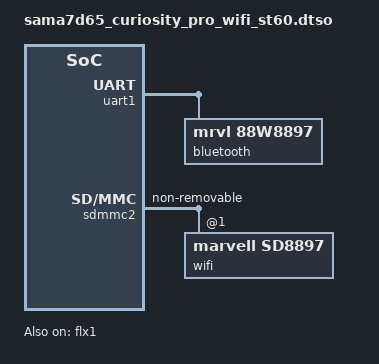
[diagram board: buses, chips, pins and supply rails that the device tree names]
// SPDX-License-Identifier: (GPL-2.0+ OR MIT)
/*
 *  Device Tree overlay for SAMA7D65-CURIOSITY-PRO board
 *  in order to use ST60 M.2 WIFI chip with USART for HCI
 *
 *  Copyright (c) 2026 Microchip Technology Inc. and its subsidiaries
 *
 *  Author: Ryan Wanner <ryan.wanner@microchip.com>
 *
 */
/dts-v1/;
/plugin/;
#include "sama7d65-pinfunc.h"
#include <dt-bindings/mfd/atmel-flexcom.h>
#include <dt-bindings/gpio/gpio.h>
#include <dt-bindings/pinctrl/at91.h>

&flx1 {
	atmel,flexcom-mode = <ATMEL_FLEXCOM_MODE_USART>;
	status = "okay";
};

&uart1 {
	pinctrl-names = "default";
	pinctrl-0 = <&pinctrl_uart1_default>;
	status = "okay";

	bluetooth {
		compatible = "mrvl,88w8897";
	};
};

&sdmmc2 {
	#address-cells = <1>;
	#size-cells = <0>;
	non-removable;
	status = "okay";

	wifi@1 {
		compatible = "marvell,sd8897";
		reg = <1>;
	};

};

&pioa {
	pinctrl_uart1_default: uart1-default {
		pinmux = <PIN_PD7__FLEXCOM1_IO0>,
			 <PIN_PD6__FLEXCOM1_IO1>,
			 <PIN_PD5__FLEXCOM1_IO3>,
			 <PIN_PD3__FLEXCOM1_IO4>;
		bias-disable;
	};
};
